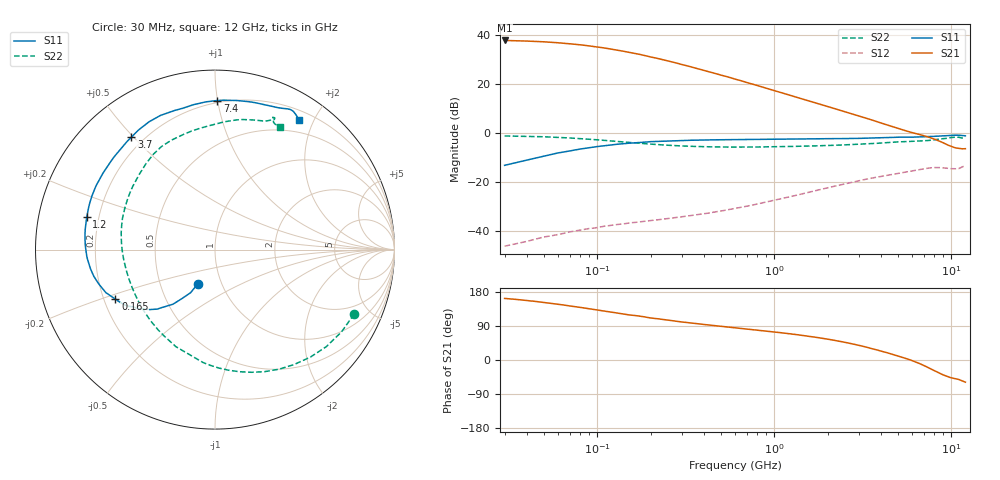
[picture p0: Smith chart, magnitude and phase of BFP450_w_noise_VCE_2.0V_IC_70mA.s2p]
! Infineon Technologies  Discrete & RF Semiconductors
! BFP450
! VCE =  2.0 V,  IC =  70 mA
! Common Emitter S-Parameters:  Nov 2015
# GHz  S  MA  R  50
!  f  S11  S21  S12  S22
! GHz  MAG  ANG  MAG  ANG  MAG  ANG  MAG  ANG
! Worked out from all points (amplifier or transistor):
!   239 points, 30 MHz to 12 GHz, reference 50 ohm
!   highest |S21| = 37.6 dB at 30 MHz (marker M1)
!   |S21| within 3 dB of that: start of sweep to 108 MHz
!   unconditionally stable (mu >= 1): 994.6 MHz to end of sweep
!   at 300 MHz: K = 0.64, MSG = 31.1 dB, |S12| = -34.4 dB
!   at 1.88 GHz: K = 1.09, MAG = 15.3 dB, |S12| = -23.0 dB
!   at 12 GHz: K = 1.08, MAG = 1.7 dB, |S12| = -13.5 dB
!   lowest NFmin = 1.81 dB at 450 MHz
!   S11 on the Smith chart (normalised r, x): 30 MHz: 0.77, -0.31; 165 MHz: 0.25, -0.22; 1.2 GHz: 0.15, +0.12; 3.7 GHz: 0.15, +0.49; 7.4 GHz: 0.19, +1.00; 12 GHz: 0.32, +1.79
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0.03  0.215 -116.9  76.22 162.5  0.0048 79.9  0.8547 -24.8
0.04  0.2758 -119.5  74.07 157.1  0.006 75.2  0.8407 -33.1
0.05  0.3304 -124.1  71.5 151.8  0.0074 70.3  0.8227 -41.1
0.06  0.3843 -127.6  68.39 147.3  0.0083 68.1  0.8007 -48.4
0.07  0.4224 -131.3  65.21 142.6  0.0094 63.9  0.7776 -55.4
0.085  0.4769 -135.8  60.58 137.1  0.0106 61.0  0.7438 -64.9
0.11  0.5412 -142.6  53.42 129.0  0.0123 56.3  0.6941 -78.6
0.15  0.6066 -151.2  43.88 119.3  0.0142 52.4  0.6328 -96.0
0.165  0.6196 -153.5  41.16 117.2  0.0147 51.8  0.6131 -100.5
0.2  0.6537 -158.5  35.1 110.9  0.016 50.6  0.5832 -111.9
0.24  0.6713 -162.7  30.28 106.4  0.0173 50.2  0.5572 -121.1
0.3  0.6914 -167.6  24.62 100.4  0.0191 50.5  0.5345 -132.4
0.36  0.7021 -171.3  20.75 96.2  0.0209 51.5  0.5214 -140.5
0.45  0.7124 -175.5  16.62 91.1  0.0236 53.1  0.5113 -149.8
0.6  0.7219 179.2  12.38 84.9  0.0283 55.3  0.5068 -160.3
0.8  0.7285 173.9  9.143 78.8  0.0347 56.8  0.5089 -169.8
1.2  0.7374 165.8  5.914 69.7  0.0482 56.7  0.5206 177.6
1.64  0.746 158.0  4.23 61.4  0.0629 53.9  0.5344 167.4
3.7  0.7804 126.7  1.73 28.0  0.1211 31.5  0.6016 132.5
4.5  0.8013 117.3  1.369 16.8  0.1374 23.3  0.6326 122.9
7.4  0.8308 89.1  0.815 -20.1  0.1881 -7.2  0.6904 92.9
12  0.861 57.2  0.47 -58.5  0.212 -41.4  0.7759 62.0
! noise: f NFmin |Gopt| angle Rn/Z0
0.45  1.81  0.59  -172  0.06
0.9  1.85  0.61  -167  0.07
1.9  1.95  0.64  -151  0.13
2.4  2.04  0.64  -142  0.18
